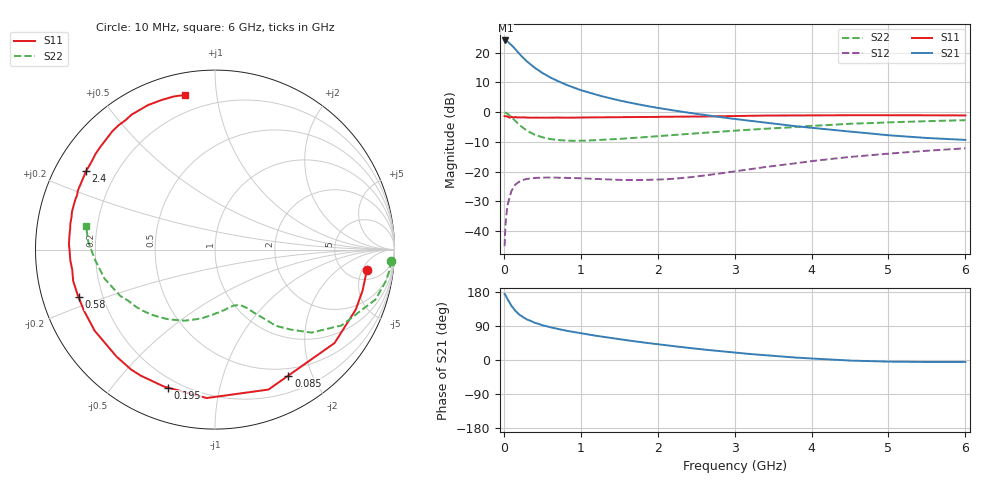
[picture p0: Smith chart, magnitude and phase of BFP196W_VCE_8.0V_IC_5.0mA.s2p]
! Infineon Technologies  Discrete & RF Semiconductors
! BFP196W
! VCE = 8.0 V,  IC = 5.0mA
! Common Emitter S-Parameters:  Jan 2016
# GHz  S  MA  R  50
!  f  S11  S21  S12  S22
! GHz  MAG  ANG  MAG  ANG  MAG  ANG  MAG  ANG
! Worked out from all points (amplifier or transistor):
!   210 points, 10 MHz to 6 GHz, reference 50 ohm
!   highest |S21| = 24.0 dB at 20 MHz (marker M1)
!   |S21| within 3 dB of that: start of sweep to 152.1 MHz
!   unconditionally stable (mu >= 1): 1.462 GHz to 3.314 GHz
!   at 185 MHz: K = 0.14, MSG = 21.9 dB, |S12| = -23.7 dB
!   at 1.52 GHz: K = 1.04, MAG = 12.1 dB, |S12| = -22.8 dB
!   at 6 GHz: K = 0.97, MSG = 1.4 dB, |S12| = -12.2 dB
!   S11 on the Smith chart (normalised r, x): 10 MHz: 7.37, -6.23; 85 MHz: 0.40, -1.67; 195 MHz: 0.16, -0.70; 580 MHz: 0.11, -0.17; 2.4 GHz: 0.09, +0.28; 6 GHz: 0.11, +0.82
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0.01  0.8539 -7.7  15.77 174.2  0.0056 82.2  0.9835 -3.6
0.02  0.8534 -15.6  15.94 171.7  0.0118 81.8  0.9775 -7.1
0.03  0.8524 -23.1  15.81 167.8  0.0171 78.5  0.9671 -10.6
0.05  0.8454 -38.0  15.31 159.5  0.0277 70.7  0.936 -17.3
0.085  0.8122 -59.8  13.8 148.1  0.0414 58.2  0.8512 -26.5
0.1  0.8348 -69.1  13.35 142.5  0.0476 55.1  0.8224 -30.9
0.15  0.8283 -93.2  11.37 129.4  0.0607 43.9  0.7094 -40.7
0.195  0.8122 -108.8  9.706 120.9  0.067 36.9  0.6211 -46.0
0.24  0.815 -120.5  8.457 114.4  0.0716 31.7  0.5568 -50.4
0.3  0.8102 -132.6  7.076 106.9  0.0753 26.5  0.4855 -53.9
0.4  0.8087 -146.0  5.556 98.4  0.0782 21.0  0.4167 -58.1
0.5  0.8054 -155.3  4.547 91.8  0.0796 17.6  0.3761 -60.8
0.58  0.8048 -160.7  3.97 87.7  0.0797 15.8  0.3573 -62.9
0.8  0.8033 -172.0  2.908 77.7  0.0788 13.4  0.3324 -68.5
1.02  0.8099 -179.6  2.297 69.9  0.077 13.2  0.3305 -74.6
1.4  0.8187 169.9  1.68 57.8  0.0736 16.3  0.3495 -85.5
2.02  0.8319 156.2  1.164 41.2  0.0737 29.1  0.3954 -103.0
2.4  0.8406 148.7  0.976 32.0  0.0797 37.6  0.4313 -113.3
3.1  0.8605 136.0  0.74 17.7  0.1054 47.2  0.4964 -132.0
4.1  0.8838 120.3  0.53 2.9  0.1552 47.4  0.5947 -156.2
5.1  0.8843 108.7  0.4 -4.5  0.2051 40.2  0.6781 -177.1
6  0.8779 100.9  0.341 -5.1  0.2466 33.1  0.7301 169.6
